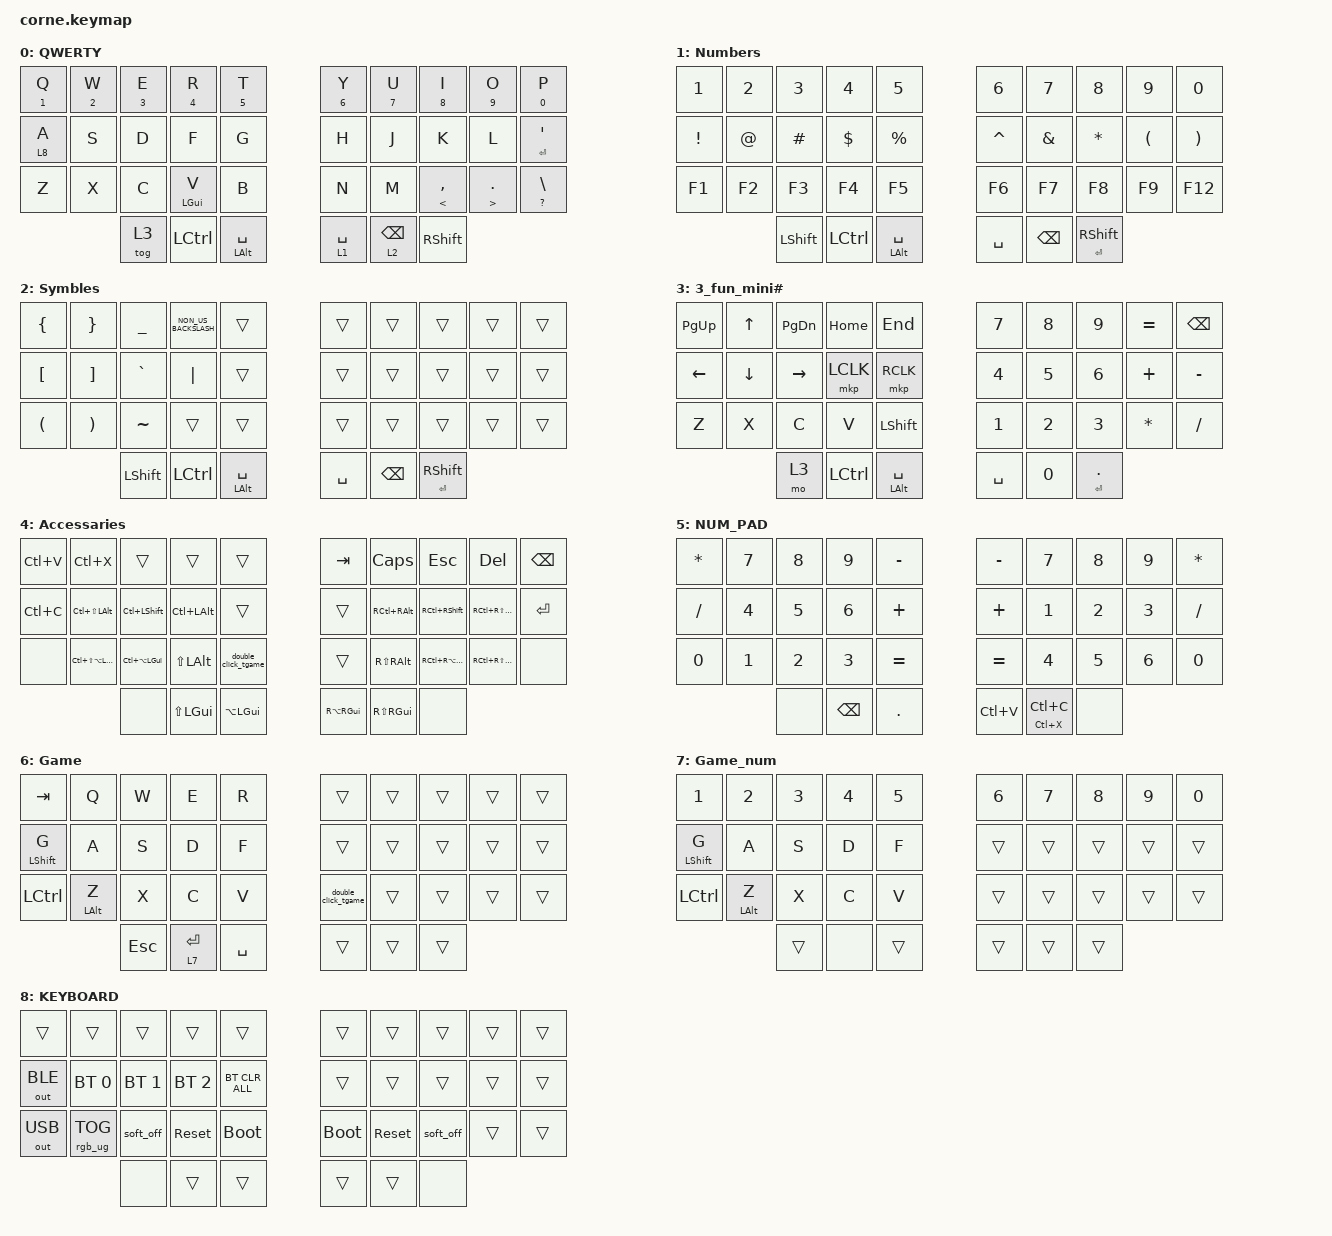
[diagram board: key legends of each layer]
/*
*
* Copyright (c) 2021 Darryl deHaan
* SPDX-License-Identifier: MIT
*
*/

#include <behaviors.dtsi>
#include <dt-bindings/zmk/bt.h>
#include <dt-bindings/zmk/keys.h>
#include <dt-bindings/zmk/mouse.h>
#include <dt-bindings/zmk/outputs.h>
#include <dt-bindings/zmk/rgb.h>

&mt {
    tapping-term-ms = <220>;
    quick-tap-ms = <200>;
    flavor = "tap-preferred";
};

&lt {
    tapping-term-ms = <220>;
    quick-tap-ms = <200>;
};

/ {
    chosen {
        // zmk,matrix_transform = &default_transform;

        zmk,matrix_transform = &five_column_transform;
    };

    behaviors {
        ht: hold_tap {
            label = "hold_tap";
            compatible = "zmk,behavior-hold-tap";
            #binding-cells = <2>;
            flavor = "tap-preferred";
            tapping-term-ms = <220>;
            quick-tap-ms = <200>;
            global-quick-tap;
            bindings = <&kp>, <&kp>;
        };

        esc_tab_ctrl: esc_tab_ctrl {
            compatible = "zmk,behavior-tap-dance";
            label = "ESC_TAB_CTRL";
            #binding-cells = <0>;
            bindings = <&ht LCTRL ESCAPE>, <&kp TAB>;
        };

        double_click_tgame: double_click_tgame {
            compatible = "zmk,behavior-tap-dance";
            label = "DOUBLE_CLICK_TGAME";
            #binding-cells = <0>;
            bindings = <&trans>, <&tog 6>;
        };

        mmv {
            acceleration-exponent = <1>;      // 1
            time-to-max-speed-ms = <300>;    // 40
            delay-ms = <0>;                   // 0
        };

        msc {
            acceleration-exponent = <0>;      // 0
            time-to-max-speed-ms = <40>;      // 500
            delay-ms = <0>;                   // 10
        };
    };
};

/ {
    combos {
        compatible = "zmk,combos";

        combo1 {
            bindings = <&kp BACKSPACE>;
            key-positions = <9 8>;
            layers = <0>;
        };

        combo2 {
            bindings = <&kp ENTER>;
            key-positions = <18 19>;
            layers = <0>;
        };

        combo4 {
            bindings = <&kp ESCAPE>;
            key-positions = <1 0>;
            layers = <0>;
        };

        cmb5 {
            bindings = <&kp TAB>;
            key-positions = <11 10>;
            layers = <0>;
        };

        bootloader_L {
            bindings = <&bootloader>;
            key-positions = <23 24>;
            layers = <0>;
        };

        bootloader_R {
            bindings = <&bootloader>;
            key-positions = <25 26>;
            layers = <0>;
        };

        mac_paste {
            bindings = <&kp LG(V)>;
            key-positions = <22 23>;
            layers = <0>;
        };

        caps {
            bindings = <&caps_word>;
            key-positions = <20 21>;
        };
    };

    keymap {
        compatible = "zmk,keymap";

        base {
            display-name = "QWERTY";

            // --------------------------------------------------------------------------------
            // |  TAB |  Q  |  W  |  E  |  R  |  T  |   |  Y  |  U   |  I  |  O  |  P  | BKSP |
            // | CTRL |  A  |  S  |  D  |  F  |  G  |   |  H  |  J   |  K  |  L  |  ;  |  '   |
            // | SHFT |  Z  |  X  |  C  |  V  |  B  |   |  N  |  M   |  ,  |  .  |  /  | ESC  |
            //                    | GUI | LWR | SPC |   | ENT | RSE  | ALT |

            bindings = <
  &mt NUMBER_1 Q  &mt NUMBER_2 W  &mt NUMBER_3 E  &mt NUMBER_4 R  &mt N5 T              &mt NUMBER_6 Y  &mt N7 U         &mt N8 I             &mt N9 O                 &mt N0 P
  &lt 8 A         &kp S           &kp D           &kp F           &kp G                 &kp H           &kp J            &kp K                &kp L                    &ht ENTER SINGLE_QUOTE
  &kp Z           &kp X           &kp C           &ht LEFT_GUI V  &kp B                 &kp N           &kp M            &mt LESS_THAN COMMA  &mt GREATER_THAN PERIOD  &mt QUESTION BSLH
                                  &tog 3          &kp LCTRL       &mt LEFT_ALT SPACE    &lt 1 SPACE     &lt 2 BACKSPACE  &kp RIGHT_SHIFT
            >;
        };

        Numbers {
            bindings = <
  &kp NUMBER_1  &kp NUMBER_2  &kp NUMBER_3    &kp NUMBER_4      &kp N5                &kp NUMBER_6  &kp N7         &kp N8                 &kp N9                &kp N0
  &kp EXCL      &kp AT_SIGN   &kp HASH        &kp DOLLAR        &kp PERCENT           &kp CARET     &kp AMPERSAND  &kp ASTERISK           &kp LEFT_PARENTHESIS  &kp RIGHT_PARENTHESIS
  &kp F1        &kp F2        &kp F3          &kp F4            &kp F5                &kp F6        &kp F7         &kp F8                 &kp F9                &kp F12
                              &kp LEFT_SHIFT  &kp LEFT_CONTROL  &mt LEFT_ALT SPACE    &kp SPACE     &kp BACKSPACE  &mt ENTER RIGHT_SHIFT
            >;
        };

        SYMB {
            display-name = "Symbles";

            // -----------------------------------------------------------------------------------------
            // |  TAB |  1  |  2  |  3  |  4  |  5  |   |  6  |  7  |  8  |  9  |  0  | BKSP |
            // | BTCLR| BT1 | BT2 | BT3 | BT4 | BT5 |   | LFT | DWN |  UP | RGT |     |      |
            // | SHFT |     |     |     |     |     |   |     |     |     |     |     |      |
            //                    | GUI |     | SPC |   | ENT |     | ALT |

            bindings = <
  &kp LEFT_BRACE        &kp RIGHT_BRACE        &kp UNDERSCORE  &kp NON_US_BACKSLASH  &trans                &trans     &trans         &trans                 &trans  &trans
  &kp LEFT_BRACKET      &kp RIGHT_BRACKET      &kp GRAVE       &kp PIPE              &trans                &trans     &trans         &trans                 &trans  &trans
  &kp LEFT_PARENTHESIS  &kp RIGHT_PARENTHESIS  &kp TILDE       &trans                &trans                &trans     &trans         &trans                 &trans  &trans
                                               &kp LEFT_SHIFT  &kp LEFT_CONTROL      &mt LEFT_ALT SPACE    &kp SPACE  &kp BACKSPACE  &mt ENTER RIGHT_SHIFT
            >;
        };

        fun_nav_media {
            display-name = "3_fun_mini#";

            // -----------------------------------------------------------------------------------------
            // |  TAB |  !  |  @  |  #  |  $  |  %  |   |  ^  |  &  |  *  |  (  |  )  | BKSP |
            // | CTRL |     |     |     |     |     |   |  -  |  =  |  [  |  ]  |  \  |  `   |
            // | SHFT |     |     |     |     |     |   |  _  |  +  |  {  |  }  | "|" |  ~   |
            //                    | GUI |     | SPC |   | ENT |     | ALT |

            bindings = <
  &kp PAGE_UP  &kp UP_ARROW  &kp PAGE_DOWN  &kp HOME          &kp END               &kp N7        &kp N8        &kp N9         &kp EQUAL     &kp BACKSPACE
  &kp LEFT     &kp DOWN      &kp RIGHT      &mkp LCLK         &mkp RCLK             &kp NUMBER_4  &kp N5        &kp NUMBER_6   &kp PLUS      &kp MINUS
  &kp Z        &kp X         &kp C          &kp V             &kp LEFT_SHIFT        &kp NUMBER_1  &kp NUMBER_2  &kp NUMBER_3   &kp ASTERISK  &kp SLASH
                             &mo 3          &kp LEFT_CONTROL  &mt LEFT_ALT SPACE    &kp SPACE     &kp N0        &mt ENTER DOT
            >;
        };

        Accessaries {
            bindings = <
  &kp LC(V)  &kp LC(X)                 &trans                &trans            &trans                 &kp TAB            &kp CAPS           &kp ESCAPE            &kp DEL                   &kp BACKSPACE
  &kp LC(C)  &kp LC(LS(LEFT_ALT))      &kp LC(LEFT_SHIFT)    &kp LC(LEFT_ALT)  &trans                 &trans             &kp RC(RIGHT_ALT)  &kp RC(RIGHT_SHIFT)   &kp RC(RS(RIGHT_ALT))     &kp ENTER
  &none      &kp LC(LS(LA(LEFT_GUI)))  &kp LC(LA(LEFT_GUI))  &kp LS(LEFT_ALT)  &double_click_tgame    &trans             &kp RS(RIGHT_ALT)  &kp RC(RA(LEFT_GUI))  &kp RC(RS(RA(LEFT_GUI)))  &none
                                       &none                 &kp LS(LEFT_GUI)  &kp LA(LEFT_GUI)       &kp RA(RIGHT_GUI)  &kp RS(RIGHT_GUI)  &none
            >;
        };

        NUM_PAD {
            bindings = <
  &kp STAR   &kp N7        &kp N8        &kp N9         &kp MINUS    &kp MINUS  &kp N7           &kp N8  &kp N9  &kp STAR
  &kp SLASH  &kp NUMBER_4  &kp N5        &kp NUMBER_6   &kp PLUS     &kp PLUS   &kp NUMBER_1     &kp N2  &kp N3  &kp SLASH
  &kp N0     &kp NUMBER_1  &kp NUMBER_2  &kp NUMBER_3   &kp EQUAL    &kp EQUAL  &kp N4           &kp N5  &kp N6  &kp N0
                           &none         &kp BACKSPACE  &kp DOT      &kp LC(V)  &ht LC(X) LC(C)  &none
            >;
        };

        Game {
            bindings = <
  &kp TAB       &kp Q           &kp W    &kp E        &kp R        &trans               &trans  &trans  &trans  &trans
  &ht LSHIFT G  &kp A           &kp S    &kp D        &kp F        &trans               &trans  &trans  &trans  &trans
  &kp LCTRL     &ht LEFT_ALT Z  &kp X    &kp C        &kp V        &double_click_tgame  &trans  &trans  &trans  &trans
                                &kp ESC  &lt 7 ENTER  &kp SPACE    &trans               &trans  &trans
            >;
        };

        Game_num {
            bindings = <
  &kp N1       &kp N2      &kp N3  &kp N4  &kp N5    &kp N6  &kp N7  &kp N8  &kp N9  &kp N0
  &ht LSHFT G  &kp A       &kp S   &kp D   &kp F     &trans  &trans  &trans  &trans  &trans
  &kp LCTRL    &ht LALT Z  &kp X   &kp C   &kp V     &trans  &trans  &trans  &trans  &trans
                           &trans  &none   &trans    &trans  &trans  &trans
            >;
        };

        KEYBOARD {
            bindings = <
  &trans        &trans           &trans        &trans        &trans            &trans       &trans      &trans     &trans  &trans
  &out OUT_BLE  &bt BT_SEL 0     &bt BT_SEL 1  &bt BT_SEL 2  &bt BT_CLR_ALL    &trans       &trans      &trans     &trans  &trans
  &out OUT_USB  &rgb_ug RGB_TOG  &soft_off     &sys_reset    &bootloader       &bootloader  &sys_reset  &soft_off  &trans  &trans
                                 &none         &trans        &trans            &trans       &trans      &none
            >;
        };
    };
};
